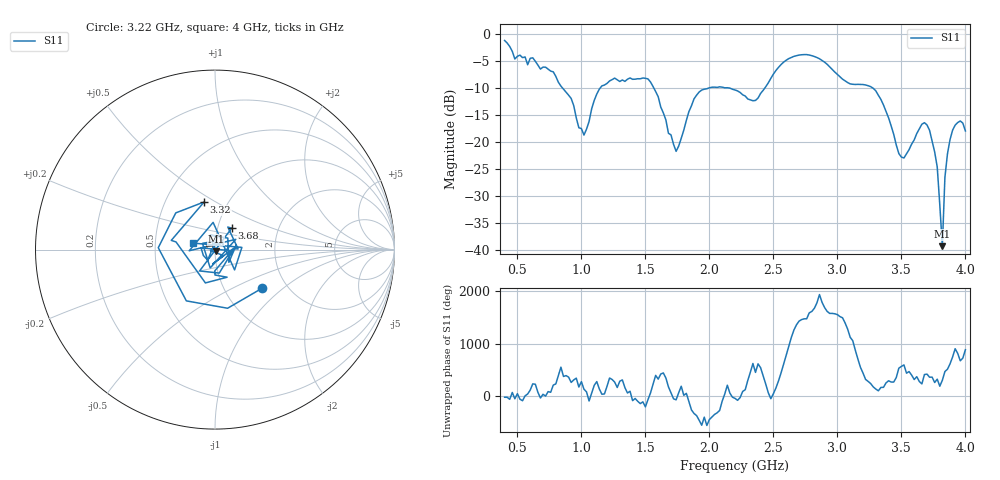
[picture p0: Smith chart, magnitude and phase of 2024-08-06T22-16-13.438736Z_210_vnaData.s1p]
!Created with skrf (http://scikit-rf.org).
# Hz S RI R 50.0
!freq ReS11 ImS11
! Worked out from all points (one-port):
!   181 points, 400 MHz to 4 GHz, reference 50 ohm
!   lowest |S11| = -39.3 dB at 3.82 GHz (marker M1), VSWR 1.02, Z = 50.6 - j0.915 ohm
!   |S11| at or under -10 dB: 854.4 MHz to 1.145 GHz (290.8 MHz wide, 29.1 % of centre); 1.567 GHz to 1.99 GHz (423.1 MHz wide, 23.8 % of centre); 3.28 GHz to end of sweep (the widest 3 of 4)
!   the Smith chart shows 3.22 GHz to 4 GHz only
!   S11 on the Smith chart (normalised r, x): 3.22 GHz: 1.50, -0.73; 3.32 GHz: 0.77, +0.44; 3.68 GHz: 1.17, +0.29; 4 GHz: 0.78, +0.06
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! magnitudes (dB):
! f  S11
! 400 MHz  -1.1
! 480 MHz  -4.6
! 620 MHz  -4.4
! 860 MHz  -10.2
! 1.02 GHz  -18.7
! 1.14 GHz  -10.2
! 1.3 GHz  -8.7
! 1.52 GHz  -8.3
! 1.74 GHz  -21.7
! 1.76 GHz  -20.7
! 1.92 GHz  -10.7
! 2.2 GHz  -10.3
! 2.36 GHz  -12.3
! 2.66 GHz  -4.1
! 2.86 GHz  -4.5
! 3.1 GHz  -9.2
! 3.22 GHz  -9.4
! 3.32 GHz  -11.3
! 3.48 GHz  -22.1
! 3.56 GHz  -21.4
! 3.68 GHz  -16.4
! 3.72 GHz  -17.8
! 3.78 GHz  -24.6
! 3.82 GHz  -39.3
! 3.84 GHz  -26.5
! 3.88 GHz  -19.5
! 3.96 GHz  -16.1
! 4 GHz  -17.9
